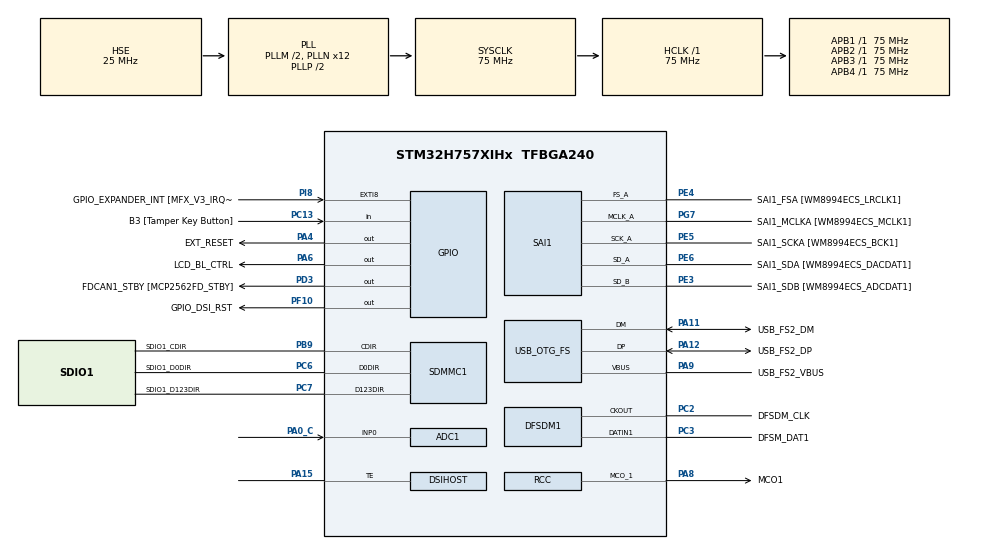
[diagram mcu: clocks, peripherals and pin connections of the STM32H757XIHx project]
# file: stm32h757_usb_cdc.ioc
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ADC1.Channel-2\#ChannelRegularConversion=ADC_CHANNEL_0
ADC1.NbrOfConversionFlag=1
ADC1.OffsetNumber-2\#ChannelRegularConversion=ADC_OFFSET_NONE
ADC1.OffsetSignedSaturation-2\#ChannelRegularConversion=DISABLE
ADC1.Rank-2\#ChannelRegularConversion=1
ADC1.SamplingTime-2\#ChannelRegularConversion=ADC_SAMPLETIME_1CYCLE_5
ADC1.master=1
CortexM4.IPs=FATFS_M4\:I,FREERTOS_M4\:I,IWDG2\:I,RCC,USB_DEVICE_M4\:I,USB_HOST_M4\:I,WWDG2\:I,DMA,BDMA,MDMA,NVIC2\:I,DFSDM1\:I,SAI1,SAI4,DEBUG,PDM2PCM_M4\:I,PWR,RESMGR_UTILITY,SYS_M4\:I,CORTEX_M4\:I,OPENAMP_M4\:I,VREFBUF,GPIO
CortexM7.IPs=FATFS_M7\:I,FREERTOS_M7\:I,IWDG1\:I,RCC\:I,USB_DEVICE_M7\:I,USB_HOST_M7\:I,WWDG1\:I,DMA\:I,BDMA\:I,MDMA\:I,NVIC1\:I,LTDC\:I,DSIHOST\:I,SAI1\:I,SAI4\:I,SYS\:I,USB_OTG_FS\:I,CORTEX_M7\:I,DEBUG\:I,DFSDM1,PDM2PCM_M7\:I,PWR\:I,RESMGR_UTILITY\:I,OPENAMP_M7\:I,VREFBUF\:I,GPIO\:I,ADC1\:I
DSI_CKN.Mode=DSIHost_Adapted_TE
DSI_CKN.PinAttribute=CortexM7
DSI_CKN.Signal=DSIHOST_CKN
DSI_CKP.Mode=DSIHost_Adapted_TE
DSI_CKP.PinAttribute=CortexM7
DSI_CKP.Signal=DSIHOST_CKP
DSI_D0N.Mode=DSIHost_Adapted_TE
DSI_D0N.PinAttribute=CortexM7
DSI_D0N.Signal=DSIHOST_D0N
DSI_D0P.Mode=DSIHost_Adapted_TE
DSI_D0P.PinAttribute=CortexM7
DSI_D0P.Signal=DSIHOST_D0P
DSI_D1N.Mode=DSIHost_Adapted_TE
DSI_D1N.PinAttribute=CortexM7
DSI_D1N.Signal=DSIHOST_D1N
DSI_D1P.Mode=DSIHost_Adapted_TE
DSI_D1P.PinAttribute=CortexM7
DSI_D1P.Signal=DSIHOST_D1P
Mcu.Family=STM32H7
Mcu.Name=STM32H757XIHx
Mcu.Package=TFBGA240
NVIC1.OTG_FS_IRQn=true\:0\:0\:false\:false\:true\:false\:true\:true
NVIC1.PriorityGroup=NVIC_PRIORITYGROUP_4
NVIC2.PriorityGroup=NVIC_PRIORITYGROUP_4
PA0_C.PinAttribute=CortexM7
PA0_C.Signal=ADCx_INP0
PA1.GPIO_Label=RMII_REF_CLK [LAN8742A_REFCLK0]
PA1.PinAttribute=CortexM7
PA1.Signal=ETH_REF_CLK
PA11.GPIO_Label=USB_FS2_DM
PA11.Mode=Device_Only
PA11.PinAttribute=CortexM7
PA11.Signal=USB_OTG_FS_DM
PA12.GPIO_Label=USB_FS2_DP
PA12.Mode=Device_Only
PA12.PinAttribute=CortexM7
PA12.Signal=USB_OTG_FS_DP
PA15\ (JTDI).Mode=DSIHost_Adapted_TE
PA15\ (JTDI).PinAttribute=CortexM7
PA15\ (JTDI).Signal=DSIHOST_TE
PA2.GPIO_Label=RMII_MDIO [LAN8742A_MDIO]
PA2.PinAttribute=CortexM7
PA2.Signal=ETH_MDIO
PA3.GPIO_Label=ULPI_D0 [USB3320C_D0]
PA3.PinAttribute=CortexM7
PA3.Signal=USB_OTG_HS_ULPI_D0
PA4.GPIO_Label=EXT_RESET
PA4.PinAttribute=Free
PA4.Signal=GPIO_Output
PA5.GPIO_Label=ULPI_CK  [USB3320C_CLKOUT]
PA5.PinAttribute=CortexM7
PA5.Signal=USB_OTG_HS_ULPI_CK
PA6.GPIO_Label=LCD_BL_CTRL
PA6.PinAttribute=Free
PA6.Signal=GPIO_Output
PA7.GPIO_Label=RMII_CRS_DV [LAN8742A_CRS_DV]
PA7.PinAttribute=CortexM7
PA7.Signal=ETH_CRS_DV
PA8.GPIO_Label=MCO1
PA8.Mode=Clock-out-1
PA8.PinAttribute=CortexM7
PA8.Signal=RCC_MCO_1
PA9.GPIO_Label=USB_FS2_VBUS
PA9.Mode=Activate_VBUS
PA9.PinAttribute=CortexM7
PA9.Signal=USB_OTG_FS_VBUS
PB0.GPIO_Label=ULPI_D1 [USB3320C_D1]
PB0.PinAttribute=CortexM7
PB0.Signal=USB_OTG_HS_ULPI_D1
PB1.GPIO_Label=ULPI_D2 [USB3320C_D2]
PB1.PinAttribute=CortexM7
PB1.Signal=USB_OTG_HS_ULPI_D2
PB10.GPIO_Label=ULPI_D3 [USB3320C_D3]
PB10.PinAttribute=CortexM7
PB10.Signal=USB_OTG_HS_ULPI_D3
PB11.GPIO_Label=ULPI_D4 [USB3320C_D4]
PB11.PinAttribute=CortexM7
PB11.Signal=USB_OTG_HS_ULPI_D4
PB12.GPIO_Label=ULPI_D5 [USB3320C_D5]
PB12.PinAttribute=CortexM7
PB12.Signal=USB_OTG_HS_ULPI_D5
PB13.GPIO_Label=ULPI_D6 [USB3320C_D6]
PB13.PinAttribute=CortexM7
PB13.Signal=USB_OTG_HS_ULPI_D6
PB14.GPIO_Label=RS232_TX [ST3241EBPR_T2IN]
PB14.PinAttribute=CortexM4
PB14.Signal=USART1_TX
PB15.GPIO_Label=RS_232RX [ST3241EBPR_R3OUT]
PB15.PinAttribute=CortexM4
PB15.Signal=USART1_RX
PB2.GPIO_Label=QSPI_CLK [MT25TL01GHBA8ESF_CLK_1]
PB2.PinAttribute=CortexM4
PB2.Signal=QUADSPI_CLK
PB5.GPIO_Label=ULPI_D7 [USB3320C_D7]
PB5.PinAttribute=CortexM7
PB5.Signal=USB_OTG_HS_ULPI_D7
PB6.GPIO_Label=I2C1_SCL [STM32L152CCT6_I2C_SCL]
PB6.GPIO_Pu=GPIO_PULLUP
PB6.PinAttribute=CortexM4
PB6.Signal=I2C1_SCL
PB7.GPIO_Label=I2C1_SDA [STM32L152CCT6_I2C_SDA]
PB7.GPIO_Pu=GPIO_PULLUP
PB7.PinAttribute=CortexM4
PB7.Signal=I2C1_SDA
PB8.GPIO_Label=SDIO1_CKIN
PB8.PinAttribute=CortexM4
PB8.Signal=SDMMC1_CKIN
PB9.GPIO_Label=SDIO1_CDIR
PB9.Mode=SD_4_bits_Wide_bus_dir_voltage_converter
PB9.PinAttribute=CortexM4
PB9.Signal=SDMMC1_CDIR
PC0.GPIO_Label=ULPI_STP [USB3320C_STP]
PC0.PinAttribute=CortexM7
PC0.Signal=USB_OTG_HS_ULPI_STP
PC1.GPIO_Label=RMII_MDC [LAN8742A_MDC]
PC1.PinAttribute=CortexM7
PC1.Signal=ETH_MDC
PC10.GPIO_Label=SDIO1_D2
PC10.PinAttribute=CortexM4
PC10.Signal=SDMMC1_D2
PC11.GPIO_Label=SDIO1_D3
PC11.PinAttribute=CortexM4
PC11.Signal=SDMMC1_D3
PC12.GPIO_Label=SDIO1_CLK
PC12.PinAttribute=CortexM4
PC12.Signal=SDMMC1_CK
PC13.GPIO_Label=B3 [Tamper Key Button]
PC13.PinAttribute=Free
PC13.Signal=GPIO_Input
PC14-OSC32_IN\ (OSC32_IN).GPIO_Label=OSC32_IN
PC14-OSC32_IN\ (OSC32_IN).Mode=LSE-External-Oscillator
PC14-OSC32_IN\ (OSC32_IN).PinAttribute=CortexM7
PC14-OSC32_IN\ (OSC32_IN).Signal=RCC_OSC32_IN
PC15-OSC32_OUT\ (OSC32_OUT).GPIO_Label=OSC32_OUT
PC15-OSC32_OUT\ (OSC32_OUT).Mode=LSE-External-Oscillator
PC15-OSC32_OUT\ (OSC32_OUT).PinAttribute=CortexM7
PC15-OSC32_OUT\ (OSC32_OUT).Signal=RCC_OSC32_OUT
PC2.GPIO_Label=DFSDM_CLK
PC2.PinAttribute=CortexM4
PC2.Signal=S_CKOUTDFSDM1
PC3.GPIO_Label=DFSM_DAT1
PC3.PinAttribute=CortexM4
PC3.Signal=S_DATAIN1DFSDM1
PC4.GPIO_Label=RMII_RXD0 [LAN8742A_RXD0]
PC4.PinAttribute=CortexM7
PC4.Signal=ETH_RXD0
PC5.GPIO_Label=RMII_RXD1 [LAN8742A_RXD1]
PC5.PinAttribute=CortexM7
PC5.Signal=ETH_RXD1
PC6.GPIO_Label=SDIO1_D0DIR
PC6.Mode=SD_4_bits_Wide_bus_dir_voltage_converter
PC6.PinAttribute=CortexM4
PC6.Signal=SDMMC1_D0DIR
PC7.GPIO_Label=SDIO1_D123DIR
PC7.Mode=SD_4_bits_Wide_bus_dir_voltage_converter
PC7.PinAttribute=CortexM4
PC7.Signal=SDMMC1_D123DIR
PC8.GPIO_Label=SDIO1_D0
PC8.PinAttribute=CortexM4
PC8.Signal=SDMMC1_D0
PC9.GPIO_Label=SDIO1_D1
PC9.PinAttribute=CortexM4
PC9.Signal=SDMMC1_D1
PD0.GPIO_Label=D2 [IS42S32800G_DQ2]
PD0.PinAttribute=CortexM4
PD0.Signal=FMC_D2_DA2
PD1.GPIO_Label=D3 [IS42S32800G_DQ3]
PD1.PinAttribute=CortexM4
PD1.Signal=FMC_D3_DA3
PD10.GPIO_Label=D15 [IS42S32800G_DQ15]
PD10.PinAttribute=CortexM4
PD10.Signal=FMC_D15_DA15
PD11.GPIO_Label=A16 [PC28F128M29EWLA_A16]
PD11.PinAttribute=CortexM4
PD11.Signal=FMC_A16_CLE
PD12.GPIO_Label=A17 [PC28F128M29EWLA_A17]
PD12.PinAttribute=CortexM4
PD12.Signal=FMC_A17_ALE
PD13.GPIO_Label=A18 [PC28F128M29EWLA_A18]
PD13.PinAttribute=CortexM4
PD13.Signal=FMC_A18
PD14.GPIO_Label=D0 [IS42S32800G_DQ0]
PD14.PinAttribute=CortexM4
PD14.Signal=FMC_D0_DA0
PD15.GPIO_Label=D1 [IS42S32800G_DQ1]
PD15.PinAttribute=CortexM4
PD15.Signal=FMC_D1_DA1
PD2.GPIO_Label=SDIO1_CMD
PD2.PinAttribute=CortexM4
PD2.Signal=SDMMC1_CMD
PD3.GPIO_Label=FDCAN1_STBY [MCP2562FD_STBY]
PD3.PinAttribute=Free
PD3.Signal=GPIO_Output
PD4.GPIO_Label=FMC_NOE [IS61WV102416BLL_OE]
PD4.PinAttribute=CortexM4
PD4.Signal=FMC_NOE
PD5.GPIO_Label=FMC_NWE [IS61WV102416BLL_WE]
PD5.PinAttribute=CortexM4
PD5.Signal=FMC_NWE
PD6.GPIO_Label=FMC_NWAIT [PC28F128M29EWLA_RB]
PD6.PinAttribute=CortexM4
PD6.Signal=FMC_NWAIT
PD7.GPIO_Label=FMC_NE1 [PC28F128M29EWLA_E]
PD7.PinAttribute=CortexM4
PD7.Signal=FMC_NE1
PD8.GPIO_Label=D13 [IS42S32800G_DQ13]
PD8.PinAttribute=CortexM4
PD8.Signal=FMC_D13_DA13
PD9.GPIO_Label=D14 [IS42S32800G_DQ14]
PD9.PinAttribute=CortexM4
PD9.Signal=FMC_D14_DA14
PE0.GPIO_Label=FMC_NBL0 [IS42S32800G_DQM0]
PE0.PinAttribute=CortexM4
PE0.Signal=FMC_NBL0
PE1.GPIO_Label=FMC_NBL1 [IS42S32800G_DQM1]
PE1.PinAttribute=CortexM4
PE1.Signal=FMC_NBL1
PE10.GPIO_Label=D7 [IS42S32800G_DQ7]
PE10.PinAttribute=CortexM4
PE10.Signal=FMC_D7_DA7
PE11.GPIO_Label=D8 [IS42S32800G_DQ8]
PE11.PinAttribute=CortexM4
PE11.Signal=FMC_D8_DA8
PE12.GPIO_Label=D9 [IS42S32800G_DQ9]
PE12.PinAttribute=CortexM4
PE12.Signal=FMC_D9_DA9
PE13.GPIO_Label=D10 [IS42S32800G_DQ10]
PE13.PinAttribute=CortexM4
PE13.Signal=FMC_D10_DA10
PE14.GPIO_Label=D11 [IS42S32800G_DQ11]
PE14.PinAttribute=CortexM4
PE14.Signal=FMC_D11_DA11
PE15.GPIO_Label=D12 [IS42S32800G_DQ12]
PE15.PinAttribute=CortexM4
PE15.Signal=FMC_D12_DA12
PE2.GPIO_Label=PDM1_CLK
PE2.PinAttribute=CortexM7
PE2.Signal=SAI4_CK1
PE3.GPIO_Label=SAI1_SDB [WM8994ECS_ADCDAT1]
PE3.Mode=SAI_B_SyncSlave
PE3.PinAttribute=CortexM7
PE3.Signal=SAI1_SD_B
PE4.GPIO_Label=SAI1_FSA [WM8994ECS_LRCLK1]
PE4.Mode=SAI_A_MasterWithClock
PE4.PinAttribute=CortexM7
PE4.Signal=SAI1_FS_A
PE5.GPIO_Label=SAI1_SCKA [WM8994ECS_BCK1]
PE5.Mode=SAI_A_MasterWithClock
PE5.PinAttribute=CortexM7
PE5.Signal=SAI1_SCK_A
PE6.GPIO_Label=SAI1_SDA [WM8994ECS_DACDAT1]
PE6.Mode=SAI_A_MasterWithClock
PE6.PinAttribute=CortexM7
PE6.Signal=SAI1_SD_A
PE7.GPIO_Label=D4 [IS42S32800G_DQ4]
PE7.PinAttribute=CortexM4
PE7.Signal=FMC_D4_DA4
PE8.GPIO_Label=D5 [IS42S32800G_DQ5]
PE8.PinAttribute=CortexM4
PE8.Signal=FMC_D5_DA5
PE9.GPIO_Label=D6 [IS42S32800G_DQ6]
PE9.PinAttribute=CortexM4
PE9.Signal=FMC_D6_DA6
PF0.GPIO_Label=A0 [PC28F128M29EWLA_A0]
PF0.PinAttribute=CortexM4
PF0.Signal=FMC_A0
PF1.GPIO_Label=A1 [PC28F128M29EWLA_A1]
PF1.PinAttribute=CortexM4
PF1.Signal=FMC_A1
PF10.GPIO_Label=GPIO_DSI_RST
PF10.PinAttribute=Free
PF10.Signal=GPIO_Output
PF11.GPIO_Label=SNDRAS [IS42S32800G_RAS]
PF11.PinAttribute=CortexM4
PF11.Signal=FMC_SDNRAS
PF12.GPIO_Label=A6 [PC28F128M29EWLA_A6]
PF12.PinAttribute=CortexM4
PF12.Signal=FMC_A6
PF13.GPIO_Label=A7 [PC28F128M29EWLA_A7]
PF13.PinAttribute=CortexM4
PF13.Signal=FMC_A7
PF14.GPIO_Label=A8 [PC28F128M29EWLA_A8]
PF14.PinAttribute=CortexM4
PF14.Signal=FMC_A8
PF15.GPIO_Label=A9 [PC28F128M29EWLA_A9]
PF15.PinAttribute=CortexM4
PF15.Signal=FMC_A9
PF2.GPIO_Label=A2 [PC28F128M29EWLA_A2]
PF2.PinAttribute=CortexM4
PF2.Signal=FMC_A2
PF3.GPIO_Label=A3 [PC28F128M29EWLA_A3]
PF3.PinAttribute=CortexM4
PF3.Signal=FMC_A3
PF4.GPIO_Label=A4 [PC28F128M29EWLA_A4]
PF4.PinAttribute=CortexM4
PF4.Signal=FMC_A4
PF5.GPIO_Label=A5 [PC28F128M29EWLA_A5]
PF5.PinAttribute=CortexM4
PF5.Signal=FMC_A5
PF6.GPIO_Label=QSPI_BK1_IO3 [MT25TL01GHBA8ESF_DQ3]
PF6.PinAttribute=CortexM4
PF6.Signal=QUADSPI_BK1_IO3
PF7.GPIO_Label=QSPI_BK1_IO2 [MT25TL01GHBA8ESF_DQ2]
PF7.PinAttribute=CortexM4
PF7.Signal=QUADSPI_BK1_IO2
PF8.GPIO_Label=QSPI_BK1_IO0 [MT25TL01GHBA8ESF_DQ0]
PF8.PinAttribute=CortexM4
PF8.Signal=QUADSPI_BK1_IO0
PF9.GPIO_Label=QSPI_BK1_IO1 [MT25TL01GHBA8ESF_DQ1]
PF9.PinAttribute=CortexM4
PF9.Signal=QUADSPI_BK1_IO1
PG0.GPIO_Label=A10 [PC28F128M29EWLA_A10]
PG0.PinAttribute=CortexM4
PG0.Signal=FMC_A10
PG1.GPIO_Label=A11 [PC28F128M29EWLA_A11]
PG1.PinAttribute=CortexM4
PG1.Signal=FMC_A11
PG10.GPIO_Label=FMC_NE3 [IS61WV102416BLL_CE]
PG10.PinAttribute=CortexM4
PG10.Signal=FMC_NE3
PG11.GPIO_Label=RMII_TX_EN [LAN8742A_TXEN]
PG11.PinAttribute=CortexM7
PG11.Signal=ETH_TX_EN
PG12.GPIO_Label=RMII_TXD1 [LAN8742A_TXD1]
PG12.PinAttribute=CortexM7
PG12.Signal=ETH_TXD1
PG13.GPIO_Label=RMII_TXD0 [LAN8742A_TXD0]
PG13.PinAttribute=CortexM7
PG13.Signal=ETH_TXD0
PG14.GPIO_Label=QSPI_BK2_IO3 [MT25TL01GHBA8ESF_DQ7]
PG14.PinAttribute=CortexM4
PG14.Signal=QUADSPI_BK2_IO3
PG15.GPIO_Label=SDNCAS [IS42S32800G_CAS]
PG15.PinAttribute=CortexM4
PG15.Signal=FMC_SDNCAS
PG2.GPIO_Label=A12 [PC28F128M29EWLA_A12]
PG2.PinAttribute=CortexM4
PG2.Signal=FMC_A12
PG3.GPIO_Label=A13 [PC28F128M29EWLA_A13]
PG3.PinAttribute=CortexM4
PG3.Signal=FMC_A13
PG4.PinAttribute=CortexM4
PG4.Signal=FMC_A14_BA0
PG5.PinAttribute=CortexM4
PG5.Signal=FMC_A15_BA1
PG6.GPIO_Label=QSPI_BK1_NCS [MT25TL01GHBA8ESF_CS]
PG6.PinAttribute=CortexM4
PG6.Signal=QUADSPI_BK1_NCS
PG7.GPIO_Label=SAI1_MCLKA [WM8994ECS_MCLK1]
PG7.Mode=SAI_A_MasterWithClock
PG7.PinAttribute=CortexM7
PG7.Signal=SAI1_MCLK_A
PG8.GPIO_Label=SDCLK [IS42S32800G_CLK]
PG8.PinAttribute=CortexM4
PG8.Signal=FMC_SDCLK
PG9.GPIO_Label=QSPI_BK2_IO2 [MT25TL01GHBA8ESF_DQ6]
PG9.PinAttribute=CortexM4
PG9.Signal=QUADSPI_BK2_IO2
PH0-OSC_IN\ (PH0).GPIO_Label=OSC_IN
PH0-OSC_IN\ (PH0).Mode=HSE-External-Oscillator
PH0-OSC_IN\ (PH0).PinAttribute=CortexM7
PH0-OSC_IN\ (PH0).Signal=RCC_OSC_IN
PH1-OSC_OUT\ (PH1).GPIO_Label=OSC_OUT
PH1-OSC_OUT\ (PH1).Mode=HSE-External-Oscillator
PH1-OSC_OUT\ (PH1).PinAttribute=CortexM7
PH1-OSC_OUT\ (PH1).Signal=RCC_OSC_OUT
PH10.GPIO_Label=D18 [IS42S32800G_DQ18]
PH10.PinAttribute=CortexM4
PH10.Signal=FMC_D18
PH11.GPIO_Label=D19 [IS42S32800G_DQ19]
PH11.PinAttribute=CortexM4
PH11.Signal=FMC_D19
PH12.GPIO_Label=D20 [IS42S32800G_DQ20]
PH12.PinAttribute=CortexM4
PH12.Signal=FMC_D20
PH13.GPIO_Label=D21 [IS42S32800G_DQ21]
PH13.PinAttribute=CortexM4
PH13.Signal=FMC_D21
PH14.GPIO_Label=D22 [IS42S32800G_DQ22]
PH14.PinAttribute=CortexM4
PH14.Signal=FMC_D22
PH15.GPIO_Label=D23 [IS42S32800G_DQ23]
PH15.PinAttribute=CortexM4
PH15.Signal=FMC_D23
PH2.GPIO_Label=QSPI_BK2_IO0 [MT25TL01GHBA8ESF_DQ4]
PH2.PinAttribute=CortexM4
PH2.Signal=QUADSPI_BK2_IO0
PH3.GPIO_Label=QSPI_BK2_IO1 [MT25TL01GHBA8ESF_DQ5]
PH3.PinAttribute=CortexM4
PH3.Signal=QUADSPI_BK2_IO1
PH4.GPIO_Label=ULPI_NXT [USB3320C_NXT]
PH4.PinAttribute=CortexM7
PH4.Signal=USB_OTG_HS_ULPI_NXT
PH5.GPIO_Label=SDNWE [IS42S32800G_WE]
PH5.PinAttribute=CortexM4
PH5.Signal=FMC_SDNWE
PH6.GPIO_Label=SDNE1 [IS42S32800G_CS]
PH6.PinAttribute=CortexM4
PH6.Signal=FMC_SDNE1
PH7.GPIO_Label=SDCKE1 [IS42S32800G_CKE]
PH7.PinAttribute=CortexM4
PH7.Signal=FMC_SDCKE1
PH8.GPIO_Label=D16 [IS42S32800G_DQ16]
PH8.PinAttribute=CortexM4
PH8.Signal=FMC_D16
PH9.GPIO_Label=D17 [IS42S32800G_DQ17]
PH9.PinAttribute=CortexM4
PH9.Signal=FMC_D17
PI0.GPIO_Label=D24 [IS42S32800G_DQ24]
PI0.PinAttribute=CortexM4
PI0.Signal=FMC_D24
PI1.GPIO_Label=D25 [IS42S32800G_DQ25]
PI1.PinAttribute=CortexM4
PI1.Signal=FMC_D25
PI10.GPIO_Label=D31 [IS42S32800G_DQ31]
PI10.PinAttribute=CortexM4
PI10.Signal=FMC_D31
PI11.GPIO_Label=ULPI_DIR [USB3320C_DIR]
PI11.PinAttribute=CortexM7
PI11.Signal=USB_OTG_HS_ULPI_DIR
PI2.GPIO_Label=D26 [IS42S32800G_DQ26]
PI2.PinAttribute=CortexM4
PI2.Signal=FMC_D26
PI3.GPIO_Label=D27 [IS42S32800G_DQ27
PI3.PinAttribute=CortexM4
PI3.Signal=FMC_D27
PI4.GPIO_Label=FMC_NBL2 [IS42S32800G_DQM2]
PI4.PinAttribute=CortexM4
PI4.Signal=FMC_NBL2
PI5.GPIO_Label=FMC_NBL3 [IS42S32800G_DQM3]
PI5.PinAttribute=CortexM4
PI5.Signal=FMC_NBL3
PI6.GPIO_Label=D28 [IS42S32800G_DQ28]
PI6.PinAttribute=CortexM4
PI6.Signal=FMC_D28
PI7.GPIO_Label=D29 [IS42S32800G_DQ29]
PI7.PinAttribute=CortexM4
PI7.Signal=FMC_D29
PI8.GPIO_Label=GPIO_EXPANDER_INT [MFX_V3_IRQOUT]
PI8.PinAttribute=Free
PI8.Signal=GPXTI8
PI9.GPIO_Label=D30 [IS42S32800G_DQ30]
PI9.PinAttribute=CortexM4
PI9.Signal=FMC_D30
ProjectManager.HeapSize=M4-0x200,M7-0x200
ProjectManager.StackSize=M4-0x400,M7-0x400
ProjectManager.TargetToolchain=STM32CubeIDE
RCC.ADCFreq_Value=75000000
RCC.APB1Freq_Value=75000000
RCC.APB2Freq_Value=75000000
RCC.APB3Freq_Value=75000000
RCC.APB4Freq_Value=75000000
RCC.CortexFreq_Value=75000000
RCC.DIVM1=2
RCC.DIVM2=2
RCC.DIVM3=1
RCC.DIVN1=12
RCC.DIVN2=12
RCC.DIVN3=6
RCC.DIVQ1=1
RCC.DIVR3=1
RCC.DSITX_Div=2
RCC.HCLKFreq_Value=75000000
RCC.PLL2FRACN=0
RCC.PLL3FRACN=0
RCC.PLLDSIODF=DSI_PLL_OUT_DIV2
RCC.PLLFRACN=0
RCC.PLLSourceVirtual=RCC_PLLSOURCE_HSE
RCC.PWR_Regulator_Voltage_Scale=PWR_REGULATOR_VOLTAGE_SCALE1
RCC.SYSCLKFreq_VALUE=75000000
RCC.SYSCLKSource=RCC_SYSCLKSOURCE_PLLCLK
RCC.SupplySource=PWR_DIRECT_SMPS_SUPPLY
RCC.USBCLockSelection=RCC_USBCLKSOURCE_HSI48
RCC.USBFreq_Value=48000000
SAI1.ErrorAudioFreq-SAI_A_MasterWithClock=205.17 %
SAI1.InitProtocol-SAI_A_MasterWithClock=Enable
SAI1.Instance-SAI_A_MasterWithClock=SAI$Index_Block_A
SAI1.Instance-SAI_B_SyncSlave=SAI$Index_Block_B
SAI1.MClockEnable-SAI_A_MasterWithClock=SAI_MASTERCLOCK_ENABLE
SAI1.RealAudioFreq-SAI_A_MasterWithClock=585.937 KHz
SAI1.VirtualMode-SAI_A_MasterWithClock=VM_MASTER
SAI1.VirtualMode-SAI_B_SyncSlave=VM_SLAVE
SAI1.VirtualProtocol-SAI_A_BASIC=VM_BASIC_PROTOCOL
SH.ADCx_INP0.0=ADC1_INP0,IN0-Single-Ended
SH.FMC_A0.0=FMC_A0
SH.FMC_A1.0=FMC_A1
SH.FMC_A10.0=FMC_A10
SH.FMC_A11.0=FMC_A11
SH.FMC_A12.0=FMC_A12
SH.FMC_A13.0=FMC_A13
SH.FMC_A14_BA0.0=FMC_A14
SH.FMC_A14_BA0.1=FMC_BA0
SH.FMC_A15_BA1.0=FMC_A15
SH.FMC_A15_BA1.1=FMC_BA1
SH.FMC_A16_CLE.0=FMC_A16
SH.FMC_A17_ALE.0=FMC_A17
SH.FMC_A18.0=FMC_A18
SH.FMC_A2.0=FMC_A2
SH.FMC_A3.0=FMC_A3
SH.FMC_A4.0=FMC_A4
SH.FMC_A5.0=FMC_A5
SH.FMC_A6.0=FMC_A6
SH.FMC_A7.0=FMC_A7
SH.FMC_A8.0=FMC_A8
SH.FMC_A9.0=FMC_A9
SH.FMC_D0_DA0.0=FMC_D0
SH.FMC_D10_DA10.0=FMC_D10
SH.FMC_D11_DA11.0=FMC_D11
SH.FMC_D12_DA12.0=FMC_D12
SH.FMC_D13_DA13.0=FMC_D13
SH.FMC_D14_DA14.0=FMC_D14
SH.FMC_D15_DA15.0=FMC_D15
SH.FMC_D16.0=FMC_D16
SH.FMC_D17.0=FMC_D17
SH.FMC_D18.0=FMC_D18
SH.FMC_D19.0=FMC_D19
SH.FMC_D1_DA1.0=FMC_D1
SH.FMC_D20.0=FMC_D20
SH.FMC_D21.0=FMC_D21
SH.FMC_D22.0=FMC_D22
SH.FMC_D23.0=FMC_D23
SH.FMC_D24.0=FMC_D24
SH.FMC_D25.0=FMC_D25
SH.FMC_D26.0=FMC_D26
SH.FMC_D27.0=FMC_D27
SH.FMC_D28.0=FMC_D28
SH.FMC_D29.0=FMC_D29
SH.FMC_D2_DA2.0=FMC_D2
SH.FMC_D30.0=FMC_D30
SH.FMC_D31.0=FMC_D31
SH.FMC_D3_DA3.0=FMC_D3
SH.FMC_D4_DA4.0=FMC_D4
SH.FMC_D5_DA5.0=FMC_D5
SH.FMC_D6_DA6.0=FMC_D6
SH.FMC_D7_DA7.0=FMC_D7
SH.FMC_D8_DA8.0=FMC_D8
SH.FMC_D9_DA9.0=FMC_D9
SH.FMC_NBL0.0=FMC_NBL0
SH.FMC_NBL1.0=FMC_NBL1
SH.FMC_NBL2.0=FMC_NBL2
SH.FMC_NBL3.0=FMC_NBL3
SH.FMC_NOE.0=FMC_NOE
SH.FMC_NWAIT.0=FMC_NWAIT
SH.FMC_NWE.0=FMC_NWE
SH.FMC_SDCLK.0=FMC_SDCLK
SH.FMC_SDNCAS.0=FMC_SDNCAS
SH.FMC_SDNRAS.0=FMC_SDNRAS
SH.FMC_SDNWE.0=FMC_SDNWE
SH.S_CKOUTDFSDM1.0=DFSDM1_CKOUT,PDM_SPI_input_from_ch1_and_internal_clock
SH.S_DATAIN1DFSDM1.0=DFSDM1_DATIN1,PDM_SPI_input_from_ch1_and_internal_clock
USB_DEVICE_M7.CLASS_NAME_FS=CDC
USB_DEVICE_M7.VirtualMode-CDC_FS=Cdc
USB_DEVICE_M7.VirtualModeFS=Cdc_FS
USB_OTG_FS.VirtualMode=Device_Only
VP_LTDC_DSIMode.Mode=RGB888
VP_SAI1_VP_$IpInstance_SAIA_SAI_BASIC.Mode=SAI_A_BASIC
VP_SYS_M4_VS_Systick.Mode=SysTick
VP_USB_DEVICE_M7_VS_USB_DEVICE_CDC_FS.Mode=CDC_FS
board=STM32H757I-EVAL

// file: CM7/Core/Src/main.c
/* USER CODE BEGIN Header */
/**
 ******************************************************************************
 * @file           : main.c
 * @brief          : Main program body
 ******************************************************************************
 * @attention
 *
 * Copyright (c) 2025 STMicroelectronics.
 * All rights reserved.
 *
 * This software is licensed under terms that can be found in the LICENSE file
 * in the root directory of this software component.
 * If no LICENSE file comes with this software, it is provided AS-IS.
 *
 ******************************************************************************
 */
/* USER CODE END Header */
#include "main.h"
#include "usb_device.h"

/* USER CODE BEGIN Includes */
#include "usbd_cdc.h"
#include "arm_math.h"
#include "arm_const_structs.h"
/* USER CODE END Includes */

/* USER CODE BEGIN PD */
#define TEST_LENGTH_SAMPLES 2048

#define PI              3.14159265358979f
#define SAMPLE_RATE     2048      // 取樣頻率 1kHz
#define FREQ            50.0f     // 正弦波頻率 50Hz
/* DUAL_CORE_BOOT_SYNC_SEQUENCE: Define for dual core boot synchronization    */
/*                             demonstration code based on hardware semaphore */
/* This define is present in both CM7/CM4 projects                            */
/* To comment when developping/debugging on a single core                     */
#define DUAL_CORE_BOOT_SYNC_SEQUENCE

#if defined(DUAL_CORE_BOOT_SYNC_SEQUENCE)
#ifndef HSEM_ID_0
#define HSEM_ID_0 (0U) /* HW semaphore 0*/
#endif
#endif /* DUAL_CORE_BOOT_SYNC_SEQUENCE */

/* USER CODE END PD */

ADC_HandleTypeDef hadc1;

DFSDM_Channel_HandleTypeDef hdfsdm1_channel1;

DSI_HandleTypeDef hdsi;

LTDC_HandleTypeDef hltdc;

SAI_HandleTypeDef hsai_BlockB1;
SAI_HandleTypeDef hsai_BlockA1;

/* USER CODE BEGIN PV */
extern USBD_HandleTypeDef hUsbDeviceFS;
extern float32_t testInput_f32_10khz[TEST_LENGTH_SAMPLES];
static float32_t testOutput[TEST_LENGTH_SAMPLES / 2];
static float32_t testInput_sine[SAMPLE_RATE];
static float32_t ad_value[SAMPLE_RATE];
uint32_t fftSize = 1024;
uint32_t ifftFlag = 0;
uint32_t doBitReverse = 1;
uint32_t refIndex = 213, testIndex = 0;
/* USER CODE END PV */

void SystemClock_Config(void);
static void MX_GPIO_Init(void);
static void MX_DSIHOST_DSI_Init(void);
static void MX_LTDC_Init(void);
static void MX_SAI1_Init(void);
static void MX_ADC1_Init(void);

int main(void) {

	/* USER CODE BEGIN 1 */
	uint8_t UserTxBuffer[] =
			"WaveShare Open7XXI-C Board STM32 Virtual COM Port Driver \r\n";
	arm_status status;
	float32_t maxValue;
	uint8_t raw_bytes[4];

	status = ARM_MATH_SUCCESS;
	/* USER CODE END 1 */
	/* USER CODE BEGIN Boot_Mode_Sequence_0 */
#if defined(DUAL_CORE_BOOT_SYNC_SEQUENCE)
	int32_t timeout;
#endif /* DUAL_CORE_BOOT_SYNC_SEQUENCE */
	/* USER CODE END Boot_Mode_Sequence_0 */

	/* USER CODE BEGIN Boot_Mode_Sequence_1 */
#if defined(DUAL_CORE_BOOT_SYNC_SEQUENCE)
	/* Wait until CPU2 boots and enters in stop mode or timeout*/
	timeout = 0xFFFF;
	//while((__HAL_RCC_GET_FLAG(RCC_FLAG_D2CKRDY) != RESET) && (timeout-- > 0));
	//if ( timeout < 0 )
	//{
	//Error_Handler();
	//}
#endif /* DUAL_CORE_BOOT_SYNC_SEQUENCE */
	/* USER CODE END Boot_Mode_Sequence_1 */
	/* MCU Configuration--------------------------------------------------------*/

	/* Reset of all peripherals, Initializes the Flash interface and the Systick. */
	HAL_Init();

	/* Configure the system clock */
	SystemClock_Config();
	/* USER CODE BEGIN Boot_Mode_Sequence_2 */
#if defined(DUAL_CORE_BOOT_SYNC_SEQUENCE)
	/* When system initialization is finished, Cortex-M7 will release Cortex-M4 by means of
	 HSEM notification */
	/*HW semaphore Clock enable*/
	__HAL_RCC_HSEM_CLK_ENABLE();
	/*Take HSEM */
	HAL_HSEM_FastTake(HSEM_ID_0);
	/*Release HSEM in order to notify the CPU2(CM4)*/
	HAL_HSEM_Release(HSEM_ID_0, 0);
	/* wait until CPU2 wakes up from stop mode */
	timeout = 0xFFFF;
	//while((__HAL_RCC_GET_FLAG(RCC_FLAG_D2CKRDY) == RESET) && (timeout-- > 0));
	//if ( timeout < 0 )
	//{
	//Error_Handler();
	//}
#endif /* DUAL_CORE_BOOT_SYNC_SEQUENCE */
	/* USER CODE END Boot_Mode_Sequence_2 */

	/* Initialize all configured peripherals */
	//MX_GPIO_Init();
	//MX_DSIHOST_DSI_Init();
	//MX_LTDC_Init();
	//MX_SAI1_Init();
	MX_USB_DEVICE_Init();
	MX_ADC1_Init();

	/* Infinite loop */
	while (1) {

		/* USER CODE BEGIN 3 */

		//get analog signal value from PA0_C (RV1) and sent to PC.
		for (int i = 0; i < SAMPLE_RATE; i++) {
			HAL_ADC_Start(&hadc1);
			//HAL_Delay(10);
			ad_value[i] = HAL_ADC_GetValue(&hadc1);
			HAL_ADC_Stop(&hadc1);
			//HAL_Delay(10);
		}

		for (int i = 0; i < SAMPLE_RATE; i++) {
			//normalize -1.0 ~ +1.0
			ad_value[i] = ad_value[i] - ((float32_t) 65535.0f / 2.0f);
			ad_value[i] = ad_value[i] / ((float32_t) 65535.0f / 2.0f);

		}
		for (int i = 0; i < SAMPLE_RATE; i++) {
			memcpy(raw_bytes, &ad_value[i], sizeof(float32_t));
			USBD_CDC_SetTxBuffer(&hUsbDeviceFS, (uint8_t*) &raw_bytes,
					sizeof(raw_bytes));
			USBD_CDC_TransmitPacket(&hUsbDeviceFS);
			HAL_Delay(10);
		}

		//cal FFT of analog signal value and sent to PC.
		/* Process the data through the CFFT/CIFFT module */
		arm_cfft_f32(&arm_cfft_sR_f32_len1024, ad_value, ifftFlag,
				doBitReverse);
		/* Process the data through the Complex Magnitude Module for
		 calculating the magnitude at each bin */
		arm_cmplx_mag_f32(ad_value, testOutput, fftSize);
		/* Calculates maxValue and returns corresponding BIN value */
		arm_max_f32(testOutput, fftSize, &maxValue, &testIndex);
		for (int i = 0; i < SAMPLE_RATE / 2; i++) {
			memcpy(raw_bytes, &testOutput[i], sizeof(float32_t));
			USBD_CDC_SetTxBuffer(&hUsbDeviceFS, (uint8_t*) &raw_bytes,
					sizeof(raw_bytes));
			USBD_CDC_TransmitPacket(&hUsbDeviceFS);
			HAL_Delay(10);
		}

		//gen 50hz sine wave and sent to PC.
		for (int i = 0; i < SAMPLE_RATE; i++) {
			float32_t angle = 2.0f * PI * FREQ
					* ((float32_t) i / (float32_t) SAMPLE_RATE);
			float32_t radians = (PI / 180.0f) * angle;
			testInput_sine[i] = arm_sin_f32(radians);
		}
		for (int i = 0; i < SAMPLE_RATE; i++) {
			memcpy(raw_bytes, &testInput_sine[i], sizeof(float32_t));
			USBD_CDC_SetTxBuffer(&hUsbDeviceFS, (uint8_t*) &raw_bytes,
					sizeof(raw_bytes));
			USBD_CDC_TransmitPacket(&hUsbDeviceFS);
			HAL_Delay(10);
		}

		//cal FFT of 50hz sine wave and send to PC.
		/* Process the data through the CFFT/CIFFT module */
		arm_cfft_f32(&arm_cfft_sR_f32_len1024, testInput_sine, ifftFlag,
				doBitReverse);
		/* Process the data through the Complex Magnitude Module for
		 calculating the magnitude at each bin */
		arm_cmplx_mag_f32(testInput_sine, testOutput, fftSize);
		/* Calculates maxValue and returns corresponding BIN value */
		arm_max_f32(testOutput, fftSize, &maxValue, &testIndex);
		//USBD_CDC_SetTxBuffer(&hUsbDeviceFS, (uint8_t*)&UserTxBuffer, sizeof(UserTxBuffer));
		//USBD_CDC_TransmitPacket(&hUsbDeviceFS);
		for (int i = 0; i < SAMPLE_RATE / 2; i++) {
			memcpy(raw_bytes, &testOutput[i], sizeof(float32_t));
			USBD_CDC_SetTxBuffer(&hUsbDeviceFS, (uint8_t*) &raw_bytes,
					sizeof(raw_bytes));
			USBD_CDC_TransmitPacket(&hUsbDeviceFS);
			HAL_Delay(10);
		}

		//get example data and send to PC.
		for (int i = 0; i < SAMPLE_RATE / 2; i++) {
			memcpy(raw_bytes, &testInput_f32_10khz[i], sizeof(float32_t));
			USBD_CDC_SetTxBuffer(&hUsbDeviceFS, (uint8_t*) &raw_bytes,
					sizeof(raw_bytes));
			USBD_CDC_TransmitPacket(&hUsbDeviceFS);
			HAL_Delay(10);
		}

		//cal FFT of example data and send to PC.
		/* Process the data through the CFFT/CIFFT module */
		arm_cfft_f32(&arm_cfft_sR_f32_len1024, testInput_f32_10khz, ifftFlag,
				doBitReverse);
		/* Process the data through the Complex Magnitude Module for
		 calculating the magnitude at each bin */
		arm_cmplx_mag_f32(testInput_f32_10khz, testOutput, fftSize);
		/* Calculates maxValue and returns corresponding BIN value */
		arm_max_f32(testOutput, fftSize, &maxValue, &testIndex);
		//USBD_CDC_SetTxBuffer(&hUsbDeviceFS, (uint8_t*)&UserTxBuffer, sizeof(UserTxBuffer));
		//USBD_CDC_TransmitPacket(&hUsbDeviceFS);
		for (int i = 0; i < SAMPLE_RATE / 2; i++) {
			memcpy(raw_bytes, &testOutput[i], sizeof(float32_t));
			USBD_CDC_SetTxBuffer(&hUsbDeviceFS, (uint8_t*) &raw_bytes,
					sizeof(raw_bytes));
			USBD_CDC_TransmitPacket(&hUsbDeviceFS);
			HAL_Delay(10);
		}

		continue;

		//code below is useless.
		for (int i = 0; i < TEST_LENGTH_SAMPLES / 2; i++) {
			testOutput[i] = 0.0f;
		}

		/* Process the data through the CFFT/CIFFT module */
		arm_cfft_f32(&arm_cfft_sR_f32_len1024, testInput_f32_10khz, ifftFlag,
				doBitReverse);
		/* Process the data through the Complex Magnitude Module for
		 calculating the magnitude at each bin */
		arm_cmplx_mag_f32(testInput_f32_10khz, testOutput, fftSize);
		/* Calculates maxValue and returns corresponding BIN value */
		arm_max_f32(testOutput, fftSize, &maxValue, &testIndex);

		//USBD_CDC_SetTxBuffer(&hUsbDeviceFS, (uint8_t*)&UserTxBuffer, sizeof(UserTxBuffer));
		//USBD_CDC_TransmitPacket(&hUsbDeviceFS);
		for (int i = 0; i < TEST_LENGTH_SAMPLES / 2; i++) {
			memcpy(raw_bytes, &testOutput[i], sizeof(float32_t));
			USBD_CDC_SetTxBuffer(&hUsbDeviceFS, (uint8_t*) &raw_bytes,
					sizeof(raw_bytes));
			USBD_CDC_TransmitPacket(&hUsbDeviceFS);
			HAL_Delay(100);
		}

		while (1)
			;

	}
	/* USER CODE END 3 */
}

void SystemClock_Config(void) {
	RCC_OscInitTypeDef RCC_OscInitStruct = { 0 };
	RCC_ClkInitTypeDef RCC_ClkInitStruct = { 0 };

	/** Supply configuration update enable
	 */
	HAL_PWREx_ConfigSupply(PWR_DIRECT_SMPS_SUPPLY);

	/** Configure the main internal regulator output voltage
	 */
	__HAL_PWR_VOLTAGESCALING_CONFIG(PWR_REGULATOR_VOLTAGE_SCALE1);

	while (!__HAL_PWR_GET_FLAG(PWR_FLAG_VOSRDY)) {
	}

	/** Initializes the RCC Oscillators according to the specified parameters
	 * in the RCC_OscInitTypeDef structure.
	 */
	RCC_OscInitStruct.OscillatorType = RCC_OSCILLATORTYPE_HSI48
			| RCC_OSCILLATORTYPE_HSI | RCC_OSCILLATORTYPE_HSE;
	RCC_OscInitStruct.HSEState = RCC_HSE_ON;
	RCC_OscInitStruct.HSIState = RCC_HSI_DIV1;
	RCC_OscInitStruct.HSICalibrationValue = RCC_HSICALIBRATION_DEFAULT;
	RCC_OscInitStruct.HSI48State = RCC_HSI48_ON;
	RCC_OscInitStruct.PLL.PLLState = RCC_PLL_ON;
	RCC_OscInitStruct.PLL.PLLSource = RCC_PLLSOURCE_HSE;
	RCC_OscInitStruct.PLL.PLLM = 2;
	RCC_OscInitStruct.PLL.PLLN = 12;
	RCC_OscInitStruct.PLL.PLLP = 2;
	RCC_OscInitStruct.PLL.PLLQ = 1;
	RCC_OscInitStruct.PLL.PLLR = 2;
	RCC_OscInitStruct.PLL.PLLRGE = RCC_PLL1VCIRANGE_3;
	RCC_OscInitStruct.PLL.PLLVCOSEL = RCC_PLL1VCOMEDIUM;
	RCC_OscInitStruct.PLL.PLLFRACN = 0;
	if (HAL_RCC_OscConfig(&RCC_OscInitStruct) != HAL_OK) {
		Error_Handler();
	}

	/** Initializes the CPU, AHB and APB buses clocks
	 */
	RCC_ClkInitStruct.ClockType = RCC_CLOCKTYPE_HCLK | RCC_CLOCKTYPE_SYSCLK
			| RCC_CLOCKTYPE_PCLK1 | RCC_CLOCKTYPE_PCLK2 | RCC_CLOCKTYPE_D3PCLK1
			| RCC_CLOCKTYPE_D1PCLK1;
	RCC_ClkInitStruct.SYSCLKSource = RCC_SYSCLKSOURCE_PLLCLK;
	RCC_ClkInitStruct.SYSCLKDivider = RCC_SYSCLK_DIV1;
	RCC_ClkInitStruct.AHBCLKDivider = RCC_HCLK_DIV1;
	RCC_ClkInitStruct.APB3CLKDivider = RCC_APB3_DIV1;
	RCC_ClkInitStruct.APB1CLKDivider = RCC_APB1_DIV1;
	RCC_ClkInitStruct.APB2CLKDivider = RCC_APB2_DIV1;
	RCC_ClkInitStruct.APB4CLKDivider = RCC_APB4_DIV1;

	if (HAL_RCC_ClockConfig(&RCC_ClkInitStruct, FLASH_LATENCY_1) != HAL_OK) {
		Error_Handler();
	}
	HAL_RCC_MCOConfig(RCC_MCO1, RCC_MCO1SOURCE_HSI, RCC_MCODIV_1);
}

static void MX_ADC1_Init(void) {

	ADC_MultiModeTypeDef multimode = { 0 };
	ADC_ChannelConfTypeDef sConfig = { 0 };

	/** Common config
	 */
	hadc1.Instance = ADC1;
	hadc1.Init.ClockPrescaler = ADC_CLOCK_ASYNC_DIV1;
	hadc1.Init.Resolution = ADC_RESOLUTION_16B;
	hadc1.Init.ScanConvMode = ADC_SCAN_DISABLE;
	hadc1.Init.EOCSelection = ADC_EOC_SINGLE_CONV;
	hadc1.Init.LowPowerAutoWait = DISABLE;
	hadc1.Init.ContinuousConvMode = DISABLE;
	hadc1.Init.NbrOfConversion = 1;
	hadc1.Init.DiscontinuousConvMode = DISABLE;
	hadc1.Init.ExternalTrigConv = ADC_SOFTWARE_START;
	hadc1.Init.ExternalTrigConvEdge = ADC_EXTERNALTRIGCONVEDGE_NONE;
	hadc1.Init.ConversionDataManagement = ADC_CONVERSIONDATA_DR;
	hadc1.Init.Overrun = ADC_OVR_DATA_PRESERVED;
	hadc1.Init.LeftBitShift = ADC_LEFTBITSHIFT_NONE;
	hadc1.Init.OversamplingMode = DISABLE;
	hadc1.Init.Oversampling.Ratio = 1;
	if (HAL_ADC_Init(&hadc1) != HAL_OK) {
		Error_Handler();
	}

	/** Configure the ADC multi-mode
	 */
	multimode.Mode = ADC_MODE_INDEPENDENT;
	if (HAL_ADCEx_MultiModeConfigChannel(&hadc1, &multimode) != HAL_OK) {
		Error_Handler();
	}

	/** Configure Regular Channel
	 */
	sConfig.Channel = ADC_CHANNEL_0;
	sConfig.Rank = ADC_REGULAR_RANK_1;
	sConfig.SamplingTime = ADC_SAMPLETIME_1CYCLE_5;
	sConfig.SingleDiff = ADC_SINGLE_ENDED;
	sConfig.OffsetNumber = ADC_OFFSET_NONE;
	sConfig.Offset = 0;
	sConfig.OffsetSignedSaturation = DISABLE;
	if (HAL_ADC_ConfigChannel(&hadc1, &sConfig) != HAL_OK) {
		Error_Handler();
	}

}

void MX_DFSDM1_Init(void) {

	hdfsdm1_channel1.Instance = DFSDM1_Channel1;
	hdfsdm1_channel1.Init.OutputClock.Activation = ENABLE;
	hdfsdm1_channel1.Init.OutputClock.Selection =
			DFSDM_CHANNEL_OUTPUT_CLOCK_SYSTEM;
	hdfsdm1_channel1.Init.OutputClock.Divider = 2;
	hdfsdm1_channel1.Init.Input.Multiplexer = DFSDM_CHANNEL_EXTERNAL_INPUTS;
	hdfsdm1_channel1.Init.Input.DataPacking = DFSDM_CHANNEL_STANDARD_MODE;
	hdfsdm1_channel1.Init.Input.Pins = DFSDM_CHANNEL_SAME_CHANNEL_PINS;
	hdfsdm1_channel1.Init.SerialInterface.Type = DFSDM_CHANNEL_SPI_RISING;
	hdfsdm1_channel1.Init.SerialInterface.SpiClock =
			DFSDM_CHANNEL_SPI_CLOCK_INTERNAL;
	hdfsdm1_channel1.Init.Awd.FilterOrder = DFSDM_CHANNEL_FASTSINC_ORDER;
	hdfsdm1_channel1.Init.Awd.Oversampling = 1;
	hdfsdm1_channel1.Init.Offset = 0;
	hdfsdm1_channel1.Init.RightBitShift = 0x00;
	if (HAL_DFSDM_ChannelInit(&hdfsdm1_channel1) != HAL_OK) {
		Error_Handler();
	}

}

static void MX_DSIHOST_DSI_Init(void) {

	DSI_PLLInitTypeDef PLLInit = { 0 };
	DSI_HOST_TimeoutTypeDef HostTimeouts = { 0 };
	DSI_PHY_TimerTypeDef PhyTimings = { 0 };
	DSI_LPCmdTypeDef LPCmd = { 0 };
	DSI_CmdCfgTypeDef CmdCfg = { 0 };

	hdsi.Instance = DSI;
	hdsi.Init.AutomaticClockLaneControl = DSI_AUTO_CLK_LANE_CTRL_DISABLE;
	hdsi.Init.TXEscapeCkdiv = 2;
	hdsi.Init.NumberOfLanes = DSI_ONE_DATA_LANE;
	PLLInit.PLLNDIV = 20;
	PLLInit.PLLIDF = DSI_PLL_IN_DIV1;
	PLLInit.PLLODF = DSI_PLL_OUT_DIV2;
	if (HAL_DSI_Init(&hdsi, &PLLInit) != HAL_OK) {
		Error_Handler();
	}
	HostTimeouts.TimeoutCkdiv = 1;
	HostTimeouts.HighSpeedTransmissionTimeout = 0;
	HostTimeouts.LowPowerReceptionTimeout = 0;
	HostTimeouts.HighSpeedReadTimeout = 0;
	HostTimeouts.LowPowerReadTimeout = 0;
	HostTimeouts.HighSpeedWriteTimeout = 0;
	HostTimeouts.HighSpeedWritePrespMode = DSI_HS_PM_DISABLE;
	HostTimeouts.LowPowerWriteTimeout = 0;
	HostTimeouts.BTATimeout = 0;
	if (HAL_DSI_ConfigHostTimeouts(&hdsi, &HostTimeouts) != HAL_OK) {
		Error_Handler();
	}
	PhyTimings.ClockLaneHS2LPTime = 20;
	PhyTimings.ClockLaneLP2HSTime = 18;
	PhyTimings.DataLaneHS2LPTime = 10;
	PhyTimings.DataLaneLP2HSTime = 13;
	PhyTimings.DataLaneMaxReadTime = 0;
	PhyTimings.StopWaitTime = 0;
	if (HAL_DSI_ConfigPhyTimer(&hdsi, &PhyTimings) != HAL_OK) {
		Error_Handler();
	}
	if (HAL_DSI_ConfigFlowControl(&hdsi, DSI_FLOW_CONTROL_BTA) != HAL_OK) {
		Error_Handler();
	}
	if (HAL_DSI_SetLowPowerRXFilter(&hdsi, 10000) != HAL_OK) {
		Error_Handler();
	}
	if (HAL_DSI_ConfigErrorMonitor(&hdsi, HAL_DSI_ERROR_NONE) != HAL_OK) {
		Error_Handler();
	}
	LPCmd.LPGenShortWriteNoP = DSI_LP_GSW0P_DISABLE;
	LPCmd.LPGenShortWriteOneP = DSI_LP_GSW1P_DISABLE;
	LPCmd.LPGenShortWriteTwoP = DSI_LP_GSW2P_DISABLE;
	LPCmd.LPGenShortReadNoP = DSI_LP_GSR0P_DISABLE;
	LPCmd.LPGenShortReadOneP = DSI_LP_GSR1P_DISABLE;
	LPCmd.LPGenShortReadTwoP = DSI_LP_GSR2P_DISABLE;
	LPCmd.LPGenLongWrite = DSI_LP_GLW_DISABLE;
	LPCmd.LPDcsShortWriteNoP = DSI_LP_DSW0P_DISABLE;
	LPCmd.LPDcsShortWriteOneP = DSI_LP_DSW1P_DISABLE;
	LPCmd.LPDcsShortReadNoP = DSI_LP_DSR0P_DISABLE;
	LPCmd.LPDcsLongWrite = DSI_LP_DLW_DISABLE;
	LPCmd.LPMaxReadPacket = DSI_LP_MRDP_DISABLE;
	LPCmd.AcknowledgeRequest = DSI_ACKNOWLEDGE_DISABLE;
	if (HAL_DSI_ConfigCommand(&hdsi, &LPCmd) != HAL_OK) {
		Error_Handler();
	}
	CmdCfg.VirtualChannelID = 0;
	CmdCfg.ColorCoding = DSI_RGB888;
	CmdCfg.CommandSize = 640;
	CmdCfg.TearingEffectSource = DSI_TE_EXTERNAL;
	CmdCfg.TearingEffectPolarity = DSI_TE_RISING_EDGE;
	CmdCfg.HSPolarity = DSI_HSYNC_ACTIVE_LOW;
	CmdCfg.VSPolarity = DSI_VSYNC_ACTIVE_LOW;
	CmdCfg.DEPolarity = DSI_DATA_ENABLE_ACTIVE_HIGH;
	CmdCfg.VSyncPol = DSI_VSYNC_FALLING;
	CmdCfg.AutomaticRefresh = DSI_AR_ENABLE;
	CmdCfg.TEAcknowledgeRequest = DSI_TE_ACKNOWLEDGE_DISABLE;
	if (HAL_DSI_ConfigAdaptedCommandMode(&hdsi, &CmdCfg) != HAL_OK) {
		Error_Handler();
	}
	if (HAL_DSI_SetGenericVCID(&hdsi, 0) != HAL_OK) {
		Error_Handler();
	}

}

static void MX_LTDC_Init(void) {

	LTDC_LayerCfgTypeDef pLayerCfg = { 0 };
	LTDC_LayerCfgTypeDef pLayerCfg1 = { 0 };

	hltdc.Instance = LTDC;
	hltdc.Init.HSPolarity = LTDC_HSPOLARITY_AL;
	hltdc.Init.VSPolarity = LTDC_VSPOLARITY_AL;
	hltdc.Init.DEPolarity = LTDC_DEPOLARITY_AL;
	hltdc.Init.PCPolarity = LTDC_PCPOLARITY_IPC;
	hltdc.Init.HorizontalSync = 7;
	hltdc.Init.VerticalSync = 3;
	hltdc.Init.AccumulatedHBP = 14;
	hltdc.Init.AccumulatedVBP = 5;
	hltdc.Init.AccumulatedActiveW = 654;
	hltdc.Init.AccumulatedActiveH = 485;
	hltdc.Init.TotalWidth = 660;
	hltdc.Init.TotalHeigh = 487;
	hltdc.Init.Backcolor.Blue = 0;
	hltdc.Init.Backcolor.Green = 0;
	hltdc.Init.Backcolor.Red = 0;
	if (HAL_LTDC_Init(&hltdc) != HAL_OK) {
		Error_Handler();
	}
	pLayerCfg.WindowX0 = 0;
	pLayerCfg.WindowX1 = 0;
	pLayerCfg.WindowY0 = 0;
	pLayerCfg.WindowY1 = 0;
	pLayerCfg.PixelFormat = LTDC_PIXEL_FORMAT_ARGB8888;
	pLayerCfg.Alpha = 0;
	pLayerCfg.Alpha0 = 0;
	pLayerCfg.BlendingFactor1 = LTDC_BLENDING_FACTOR1_CA;
	pLayerCfg.BlendingFactor2 = LTDC_BLENDING_FACTOR2_CA;
	pLayerCfg.FBStartAdress = 0;
	pLayerCfg.ImageWidth = 0;
	pLayerCfg.ImageHeight = 0;
	pLayerCfg.Backcolor.Blue = 0;
	pLayerCfg.Backcolor.Green = 0;
	pLayerCfg.Backcolor.Red = 0;
	if (HAL_LTDC_ConfigLayer(&hltdc, &pLayerCfg, 0) != HAL_OK) {
		Error_Handler();
	}
	pLayerCfg1.WindowX0 = 0;
	pLayerCfg1.WindowX1 = 0;
	pLayerCfg1.WindowY0 = 0;
	pLayerCfg1.WindowY1 = 0;
	pLayerCfg1.PixelFormat = LTDC_PIXEL_FORMAT_ARGB8888;
	pLayerCfg1.Alpha = 0;
	pLayerCfg1.Alpha0 = 0;
	pLayerCfg1.BlendingFactor1 = LTDC_BLENDING_FACTOR1_CA;
	pLayerCfg1.BlendingFactor2 = LTDC_BLENDING_FACTOR2_CA;
	pLayerCfg1.FBStartAdress = 0;
	pLayerCfg1.ImageWidth = 0;
	pLayerCfg1.ImageHeight = 0;
	pLayerCfg1.Backcolor.Blue = 0;
	pLayerCfg1.Backcolor.Green = 0;
	pLayerCfg1.Backcolor.Red = 0;
	if (HAL_LTDC_ConfigLayer(&hltdc, &pLayerCfg1, 1) != HAL_OK) {
		Error_Handler();
	}

}

static void MX_SAI1_Init(void) {

	hsai_BlockB1.Instance = SAI1_Block_B;
	hsai_BlockB1.Init.Protocol = SAI_FREE_PROTOCOL;
	hsai_BlockB1.Init.AudioMode = SAI_MODESLAVE_RX;
	hsai_BlockB1.Init.DataSize = SAI_DATASIZE_8;
	hsai_BlockB1.Init.FirstBit = SAI_FIRSTBIT_MSB;
	hsai_BlockB1.Init.ClockStrobing = SAI_CLOCKSTROBING_FALLINGEDGE;
	hsai_BlockB1.Init.Synchro = SAI_SYNCHRONOUS;
	hsai_BlockB1.Init.OutputDrive = SAI_OUTPUTDRIVE_DISABLE;
	hsai_BlockB1.Init.MckOverSampling = SAI_MCK_OVERSAMPLING_DISABLE;
	hsai_BlockB1.Init.FIFOThreshold = SAI_FIFOTHRESHOLD_EMPTY;
	hsai_BlockB1.Init.SynchroExt = SAI_SYNCEXT_DISABLE;
	hsai_BlockB1.Init.MonoStereoMode = SAI_STEREOMODE;
	hsai_BlockB1.Init.CompandingMode = SAI_NOCOMPANDING;
	hsai_BlockB1.Init.TriState = SAI_OUTPUT_NOTRELEASED;
	hsai_BlockB1.Init.PdmInit.Activation = DISABLE;
	hsai_BlockB1.Init.PdmInit.MicPairsNbr = 1;
	hsai_BlockB1.Init.PdmInit.ClockEnable = SAI_PDM_CLOCK1_ENABLE;
	hsai_BlockB1.FrameInit.FrameLength = 8;
	hsai_BlockB1.FrameInit.ActiveFrameLength = 1;
	hsai_BlockB1.FrameInit.FSDefinition = SAI_FS_STARTFRAME;
	hsai_BlockB1.FrameInit.FSPolarity = SAI_FS_ACTIVE_LOW;
	hsai_BlockB1.FrameInit.FSOffset = SAI_FS_FIRSTBIT;
	hsai_BlockB1.SlotInit.FirstBitOffset = 0;
	hsai_BlockB1.SlotInit.SlotSize = SAI_SLOTSIZE_DATASIZE;
	hsai_BlockB1.SlotInit.SlotNumber = 1;
	hsai_BlockB1.SlotInit.SlotActive = 0x00000000;
	if (HAL_SAI_Init(&hsai_BlockB1) != HAL_OK) {
		Error_Handler();
	}
	hsai_BlockA1.Instance = SAI1_Block_A;
	hsai_BlockA1.Init.AudioMode = SAI_MODEMASTER_TX;
	hsai_BlockA1.Init.Synchro = SAI_ASYNCHRONOUS;
	hsai_BlockA1.Init.OutputDrive = SAI_OUTPUTDRIVE_DISABLE;
	hsai_BlockA1.Init.NoDivider = SAI_MCK_OVERSAMPLING_DISABLE;
	hsai_BlockA1.Init.MckOverSampling = SAI_MCK_OVERSAMPLING_DISABLE;
	hsai_BlockA1.Init.FIFOThreshold = SAI_FIFOTHRESHOLD_EMPTY;
	hsai_BlockA1.Init.AudioFrequency = SAI_AUDIO_FREQUENCY_192K;
	hsai_BlockA1.Init.SynchroExt = SAI_SYNCEXT_DISABLE;
	hsai_BlockA1.Init.MonoStereoMode = SAI_STEREOMODE;
	hsai_BlockA1.Init.CompandingMode = SAI_NOCOMPANDING;
	hsai_BlockA1.Init.TriState = SAI_OUTPUT_NOTRELEASED;
	if (HAL_SAI_InitProtocol(&hsai_BlockA1, SAI_I2S_STANDARD,
			SAI_PROTOCOL_DATASIZE_16BIT, 2) != HAL_OK) {
		Error_Handler();
	}

}

static void MX_GPIO_Init(void) {
	GPIO_InitTypeDef GPIO_InitStruct = { 0 };

	/* GPIO Ports Clock Enable */
	__HAL_RCC_GPIOB_CLK_ENABLE();
	__HAL_RCC_GPIOA_CLK_ENABLE();
	__HAL_RCC_GPIOG_CLK_ENABLE();
	__HAL_RCC_GPIOC_CLK_ENABLE();
	__HAL_RCC_GPIOE_CLK_ENABLE();
	__HAL_RCC_GPIOI_CLK_ENABLE();
	__HAL_RCC_GPIOH_CLK_ENABLE();

	/*Configure GPIO pins : PB5 PB10 PB11 PB1
	 PB12 PB0 PB13 */
	GPIO_InitStruct.Pin = GPIO_PIN_5 | GPIO_PIN_10 | GPIO_PIN_11 | GPIO_PIN_1
			| GPIO_PIN_12 | GPIO_PIN_0 | GPIO_PIN_13;
	GPIO_InitStruct.Mode = GPIO_MODE_AF_PP;
	GPIO_InitStruct.Pull = GPIO_NOPULL;
	GPIO_InitStruct.Speed = GPIO_SPEED_FREQ_HIGH;
	GPIO_InitStruct.Alternate = GPIO_AF10_OTG2_HS;
	HAL_GPIO_Init(GPIOB, &GPIO_InitStruct);

	/*Configure GPIO pins : PG11 PG12 PG13 */
	GPIO_InitStruct.Pin = GPIO_PIN_11 | GPIO_PIN_12 | GPIO_PIN_13;
	GPIO_InitStruct.Mode = GPIO_MODE_AF_PP;
	GPIO_InitStruct.Pull = GPIO_NOPULL;
	GPIO_InitStruct.Speed = GPIO_SPEED_FREQ_LOW;
	GPIO_InitStruct.Alternate = GPIO_AF11_ETH;
	HAL_GPIO_Init(GPIOG, &GPIO_InitStruct);

	/*Configure GPIO pin : PE2 */
	GPIO_InitStruct.Pin = GPIO_PIN_2;
	GPIO_InitStruct.Mode = GPIO_MODE_AF_PP;
	GPIO_InitStruct.Pull = GPIO_NOPULL;
	GPIO_InitStruct.Speed = GPIO_SPEED_FREQ_LOW;
	GPIO_InitStruct.Alternate = GPIO_AF10_SAI4;
	HAL_GPIO_Init(GPIOE, &GPIO_InitStruct);

	/*Configure GPIO pin : MCO1_Pin */
	GPIO_InitStruct.Pin = MCO1_Pin;
	GPIO_InitStruct.Mode = GPIO_MODE_AF_PP;
	GPIO_InitStruct.Pull = GPIO_NOPULL;
	GPIO_InitStruct.Speed = GPIO_SPEED_FREQ_LOW;
	GPIO_InitStruct.Alternate = GPIO_AF0_MCO;
	HAL_GPIO_Init(MCO1_GPIO_Port, &GPIO_InitStruct);

	/*Configure GPIO pin : PI11 */
	GPIO_InitStruct.Pin = GPIO_PIN_11;
	GPIO_InitStruct.Mode = GPIO_MODE_AF_PP;
	GPIO_InitStruct.Pull = GPIO_NOPULL;
	GPIO_InitStruct.Speed = GPIO_SPEED_FREQ_HIGH;
	GPIO_InitStruct.Alternate = GPIO_AF10_OTG2_HS;
	HAL_GPIO_Init(GPIOI, &GPIO_InitStruct);

	/*Configure GPIO pin : PC0 */
	GPIO_InitStruct.Pin = GPIO_PIN_0;
	GPIO_InitStruct.Mode = GPIO_MODE_AF_PP;
	GPIO_InitStruct.Pull = GPIO_NOPULL;
	GPIO_InitStruct.Speed = GPIO_SPEED_FREQ_HIGH;
	GPIO_InitStruct.Alternate = GPIO_AF10_OTG2_HS;
	HAL_GPIO_Init(GPIOC, &GPIO_InitStruct);

	/*Configure GPIO pins : PC1 PC4 PC5 */
	GPIO_InitStruct.Pin = GPIO_PIN_1 | GPIO_PIN_4 | GPIO_PIN_5;
	GPIO_InitStruct.Mode = GPIO_MODE_AF_PP;
	GPIO_InitStruct.Pull = GPIO_NOPULL;
	GPIO_InitStruct.Speed = GPIO_SPEED_FREQ_LOW;
	GPIO_InitStruct.Alternate = GPIO_AF11_ETH;
	HAL_GPIO_Init(GPIOC, &GPIO_InitStruct);

	/*Configure GPIO pins : PA2 PA1 PA7 */
	GPIO_InitStruct.Pin = GPIO_PIN_2 | GPIO_PIN_1 | GPIO_PIN_7;
	GPIO_InitStruct.Mode = GPIO_MODE_AF_PP;
	GPIO_InitStruct.Pull = GPIO_NOPULL;
	GPIO_InitStruct.Speed = GPIO_SPEED_FREQ_LOW;
	GPIO_InitStruct.Alternate = GPIO_AF11_ETH;
	HAL_GPIO_Init(GPIOA, &GPIO_InitStruct);

	/*Configure GPIO pin : PH4 */
	GPIO_InitStruct.Pin = GPIO_PIN_4;
	GPIO_InitStruct.Mode = GPIO_MODE_AF_PP;
	GPIO_InitStruct.Pull = GPIO_NOPULL;
	GPIO_InitStruct.Speed = GPIO_SPEED_FREQ_HIGH;
	GPIO_InitStruct.Alternate = GPIO_AF10_OTG2_HS;
	HAL_GPIO_Init(GPIOH, &GPIO_InitStruct);

	/*Configure GPIO pins : PA5 PA3 */
	GPIO_InitStruct.Pin = GPIO_PIN_5 | GPIO_PIN_3;
	GPIO_InitStruct.Mode = GPIO_MODE_AF_PP;
	GPIO_InitStruct.Pull = GPIO_NOPULL;
	GPIO_InitStruct.Speed = GPIO_SPEED_FREQ_HIGH;
	GPIO_InitStruct.Alternate = GPIO_AF10_OTG2_HS;
	HAL_GPIO_Init(GPIOA, &GPIO_InitStruct);

}

void Error_Handler(void) {
	/* USER CODE BEGIN Error_Handler_Debug */
	/* User can add his own implementation to report the HAL error return state */
	__disable_irq();
	//while (1)
	//{
	//}
	/* USER CODE END Error_Handler_Debug */
}
